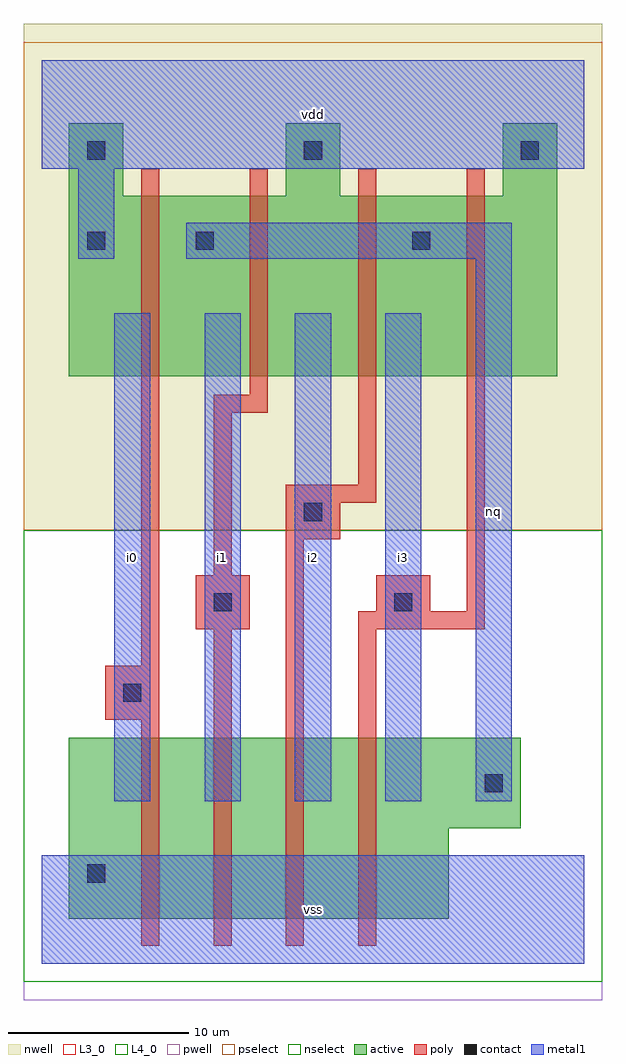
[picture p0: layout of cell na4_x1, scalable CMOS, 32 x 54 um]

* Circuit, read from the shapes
.subckt na4_x1 i0 i1 i2 i3 nq vdd vss
M1 n1 i0 vss VSUBS nfet w=10u l=1u
M2 n2 i1 n1 VSUBS nfet w=10u l=1u
M3 n3 i2 n2 VSUBS nfet w=10u l=1u
M4 nq i3 n3 VSUBS nfet w=10u l=1u
M5 nq i0 vdd n4 pfet w=10u l=1u
M6 vdd i1 nq n4 pfet w=10u l=1u
M7 nq i2 vdd n4 pfet w=10u l=1u
M8 vdd i3 nq n4 pfet w=10u l=1u
.ends

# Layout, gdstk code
import gdstk
lib = gdstk.Library(unit=1e-6, precision=1e-09)
def R(c, l, rs):  # rectangles x0, y0, x1, y1
    for r in rs: c.add(gdstk.rectangle(r[:2], r[2:], *l))
def A(c, l, x, y, w, h, nx, ny, dx, dy):  # array of equal rectangles
    R(c, l, [(x+i*dx, y+j*dy, x+i*dx+w, y+j*dy+h) for i in range(nx) for j in range(ny)])
L3_0 = (3, 0)
L4_0 = (4, 0)
contact = (25, 0)
pwell = (41, 0)
nwell = (42, 0)
active = (43, 0)
pselect = (44, 0)
nselect = (45, 0)
poly = (46, 0)
metal1 = (49, 0)

na4_x1 = lib.new_cell('na4_x1')
R(na4_x1, L3_0, [(1.5,2.5,22.5,7.5), (1.5,7.5,26.5,12.5)])
A(na4_x1, L4_0, 1.5, 42.5, 3, 4, 3, 1, 12, 0)
R(na4_x1, L4_0, [(1.5,32.5,28.5,42.5)])
A(na4_x1, contact, 2.5, 44.5, 1, 1, 3, 1, 12, 0)
R(na4_x1, contact, [(2.5,4.5,3.5,5.5), (24.5,9.5,25.5,10.5), (4.5,14.5,5.5,15.5), (9.5,19.5,10.5,20.5), (19.5,19.5,20.5,20.5), (14.5,24.5,15.5,25.5), (2.5,39.5,3.5,40.5), (8.5,39.5,9.5,40.5), (20.5,39.5,21.5,40.5)])
R(na4_x1, pwell, [(-1,-2,31,24)])
R(na4_x1, nwell, [(-1,24,31,52)])
A(na4_x1, active, 1.5, 42.5, 3, 4, 3, 1, 12, 0)
R(na4_x1, active, [(1.5,2.5,22.5,7.5), (1.5,7.5,26.5,12.5), (1.5,32.5,28.5,42.5)])
R(na4_x1, pselect, [(-1,24,31,51)])
R(na4_x1, nselect, [(-1,-1,31,24)])
R(na4_x1, poly, [(5.5,1,6.5,13.5), (9.5,1,10.5,18.5), (13.5,1,14.5,23.5), (17.5,1,18.5,18.5), (3.5,13.5,6.5,16.5), (5.5,16.5,6.5,44), (8.5,18.5,11.5,21.5), (17.5,18.5,24.5,19.5), (18.5,19.5,21.5,21.5), (23.5,19.5,24.5,44), (9.5,21.5,10.5,30.5), (13.5,23.5,16.5,25.5), (13.5,25.5,18.5,26.5), (17.5,26.5,18.5,44), (9.5,30.5,12.5,31.5), (11.5,31.5,12.5,44)])
A(na4_x1, metal1, 4, 9, 2, 27, 4, 1, 5, 0)
R(na4_x1, metal1, [(0,0,30,6), (24,9,26,39), (2,39,4,44), (8,39,26,41), (0,44,30,50)])
na4_x1.add(gdstk.Label('i0', (5,22.5), layer=49, texttype=0))
na4_x1.add(gdstk.Label('i1', (10,22.5), layer=49, texttype=0))
na4_x1.add(gdstk.Label('vss', (15,3), layer=49, texttype=0))
na4_x1.add(gdstk.Label('i2', (15,22.5), layer=49, texttype=0))
na4_x1.add(gdstk.Label('i3', (20,22.5), layer=49, texttype=0))
na4_x1.add(gdstk.Label('vdd', (15,47), layer=49, texttype=0))
na4_x1.add(gdstk.Label('nq', (25,25), layer=49, texttype=0))

lib.write_gds('na4_x1.gds')
